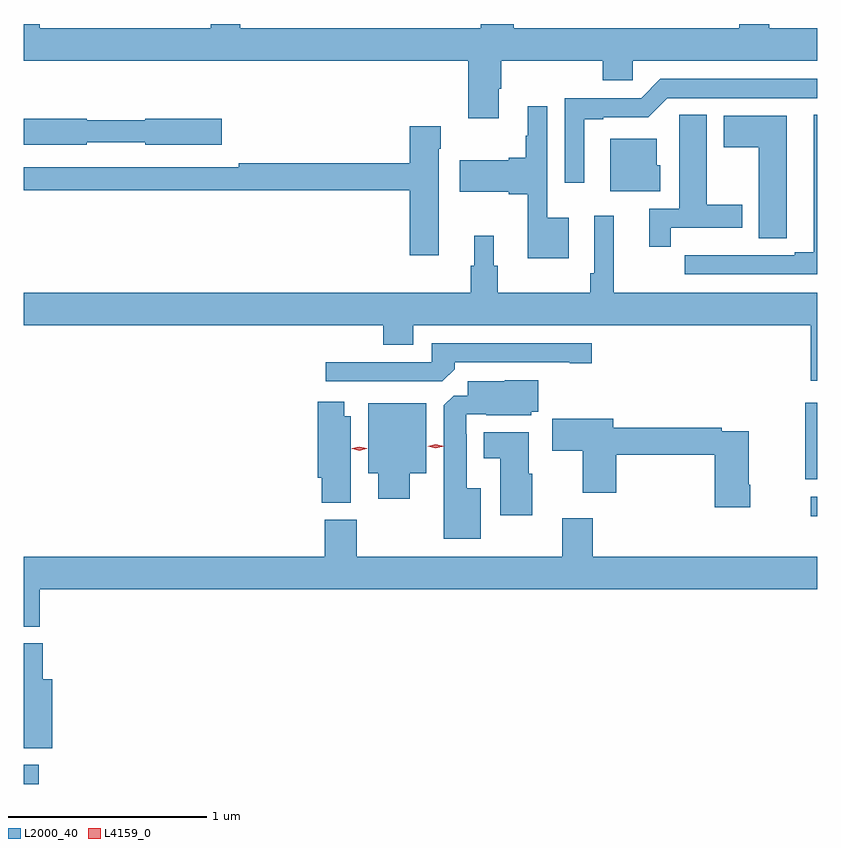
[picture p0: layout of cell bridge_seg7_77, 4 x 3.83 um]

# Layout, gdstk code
import gdstk
lib = gdstk.Library(unit=1e-6, precision=1e-09)
def R(c, l, rs):  # rectangles x0, y0, x1, y1
    for r in rs: c.add(gdstk.rectangle(r[:2], r[2:], *l))
def P(c, l, *ps):  # polygons
    for p in ps: c.add(gdstk.Polygon(p, *l))
L2000_40 = (2000, 40)
L4159_0 = (4159, 0)

bridge_seg7_77 = lib.new_cell('bridge_seg7_77')
R(bridge_seg7_77, L2000_40, [(1055.399,1003.632,1055.476,1003.728), (1059.366,1004.981,1059.399,1005.078), (1059.338,1005.167,1059.399,1005.553)])
P(bridge_seg7_77, L2000_40, [(1057.792,1007.134),(1057.805,1007.134),(1057.805,1007.276),(1058.318,1007.276),(1058.318,1007.178),(1058.469,1007.178),(1058.469,1007.276),(1059.399,1007.276),(1059.399,1007.44),(1059.156,1007.44),(1059.156,1007.461),(1059.005,1007.461),(1059.005,1007.44),(1057.868,1007.44),(1057.868,1007.461),(1057.703,1007.461),(1057.703,1007.44),(1056.492,1007.44),(1056.492,1007.461),(1056.341,1007.461),(1056.341,1007.44),(1055.48,1007.44),(1055.48,1007.461),(1055.399,1007.461),(1055.399,1007.276),(1057.64,1007.276),(1057.64,1006.986),(1057.792,1006.986)],
  [(1058.224,1006.98),(1058.32,1006.98),(1058.32,1006.992),(1058.547,1006.992),(1058.643,1007.088),(1059.399,1007.088),(1059.399,1007.184),(1058.607,1007.184),(1058.511,1007.088),(1058.127,1007.088),(1058.127,1006.662),(1058.224,1006.662)],
  [(1058.146,1006.486),(1058.037,1006.486),(1058.037,1007.047),(1057.94,1007.047),(1057.94,1006.898),(1057.929,1006.898),(1057.929,1006.787),(1057.844,1006.787),(1057.844,1006.774),(1057.596,1006.774),(1057.596,1006.616),(1057.844,1006.616),(1057.844,1006.604),(1057.94,1006.604),(1057.94,1006.28),(1058.146,1006.28)],
  [(1059.399,1007.003),(1059.38,1007.003),(1059.38,1006.311),(1059.284,1006.311),(1059.284,1006.296),(1059.008,1006.296),(1059.008,1006.297),(1058.842,1006.297),(1058.842,1006.296),(1058.73,1006.296),(1058.73,1006.2),(1059.399,1006.2)],
  [(1058.66,1006.434),(1059.019,1006.434),(1059.019,1006.551),(1058.842,1006.551),(1058.842,1007.003),(1058.703,1007.003),(1058.703,1006.892),(1058.702,1006.892),(1058.702,1006.53),(1058.552,1006.53),(1058.552,1006.338),(1058.66,1006.338)],
  [(1059.243,1006.489),(1059.244,1006.489),(1059.244,1006.999),(1058.927,1006.999),(1058.927,1006.84),(1059.104,1006.84),(1059.104,1006.381),(1059.243,1006.381)],
  [(1055.718,1006.866),(1056.012,1006.866),(1056.012,1006.853),(1056.397,1006.853),(1056.397,1006.983),(1056.012,1006.983),(1056.012,1006.975),(1055.718,1006.975),(1055.718,1006.983),(1055.399,1006.983),(1055.399,1006.853),(1055.718,1006.853)],
  [(1057.492,1006.832),(1057.5,1006.832),(1057.5,1006.945),(1057.346,1006.945),(1057.346,1006.76),(1056.484,1006.76),(1056.484,1006.74),(1055.399,1006.74),(1055.399,1006.624),(1057.346,1006.624),(1057.346,1006.296),(1057.492,1006.296)],
  [(1058.608,1006.749),(1058.59,1006.749),(1058.59,1006.882),(1058.354,1006.882),(1058.354,1006.619),(1058.608,1006.619)],
  [(1059.399,1006.108),(1058.372,1006.108),(1058.372,1006.495),(1058.274,1006.495),(1058.274,1006.204),(1058.254,1006.204),(1058.254,1006.108),(1057.787,1006.108),(1057.787,1006.242),(1057.768,1006.242),(1057.768,1006.393),(1057.67,1006.393),(1057.67,1006.242),(1057.651,1006.242),(1057.651,1006.108),(1055.399,1006.108),(1055.399,1005.944),(1057.211,1005.944),(1057.211,1005.845),(1057.363,1005.845),(1057.363,1005.944),(1059.365,1005.944),(1059.365,1005.663),(1059.399,1005.663)],
  [(1057.571,1005.722),(1057.571,1005.756),(1058.15,1005.756),(1058.15,1005.751),(1058.263,1005.751),(1058.263,1005.852),(1057.455,1005.852),(1057.455,1005.756),(1056.921,1005.756),(1056.921,1005.66),(1057.509,1005.66)],
  [(1057.702,1005.121),(1057.633,1005.121),(1057.633,1005.395),(1057.629,1005.395),(1057.629,1005.495),(1057.729,1005.495),(1057.729,1005.491),(1057.956,1005.491),(1057.956,1005.507),(1057.991,1005.507),(1057.991,1005.667),(1057.824,1005.667),(1057.824,1005.661),(1057.637,1005.661),(1057.637,1005.588),(1057.566,1005.588),(1057.517,1005.539),(1057.517,1004.867),(1057.702,1004.867)],
  [(1057.048,1005.484),(1057.015,1005.484),(1057.015,1005.559),(1056.881,1005.559),(1056.881,1005.174),(1056.902,1005.174),(1056.902,1005.049),(1057.048,1005.049)],
  [(1057.345,1005.197),(1057.429,1005.197),(1057.429,1005.55),(1057.136,1005.55),(1057.136,1005.197),(1057.187,1005.197),(1057.187,1005.069),(1057.345,1005.069)],
  [(1059.06,1005.139),(1059.052,1005.139),(1059.052,1005.408),(1058.918,1005.408),(1058.918,1005.428),(1058.371,1005.428),(1058.371,1005.471),(1058.064,1005.471),(1058.064,1005.31),(1058.216,1005.31),(1058.216,1005.099),(1058.384,1005.099),(1058.384,1005.292),(1058.882,1005.292),(1058.882,1005.027),(1059.06,1005.027)],
  [(1057.963,1005.195),(1057.945,1005.195),(1057.945,1005.403),(1057.718,1005.403),(1057.718,1005.272),(1057.802,1005.272),(1057.802,1004.985),(1057.963,1004.985)],
  [(1055.48,1004.612),(1059.399,1004.612),(1059.399,1004.776),(1058.267,1004.776),(1058.267,1004.971),(1058.114,1004.971),(1058.114,1004.776),(1057.077,1004.776),(1057.077,1004.964),(1056.917,1004.964),(1056.917,1004.776),(1055.399,1004.776),(1055.399,1004.425),(1055.48,1004.425)],
  [(1055.543,1004.161),(1055.495,1004.161),(1055.495,1004.34),(1055.399,1004.34),(1055.399,1003.813),(1055.543,1003.813)])
P(bridge_seg7_77, L4159_0, [(1057.477,1005.323),(1057.436,1005.333),(1057.436,1005.333),(1057.436,1005.333),(1057.477,1005.343),(1057.518,1005.333),(1057.518,1005.333),(1057.518,1005.333)],
  [(1057.091,1005.312),(1057.054,1005.322),(1057.053,1005.322),(1057.054,1005.323),(1057.091,1005.332),(1057.128,1005.323),(1057.129,1005.322),(1057.128,1005.322)])

lib.write_gds('bridge_seg7_77.gds')
